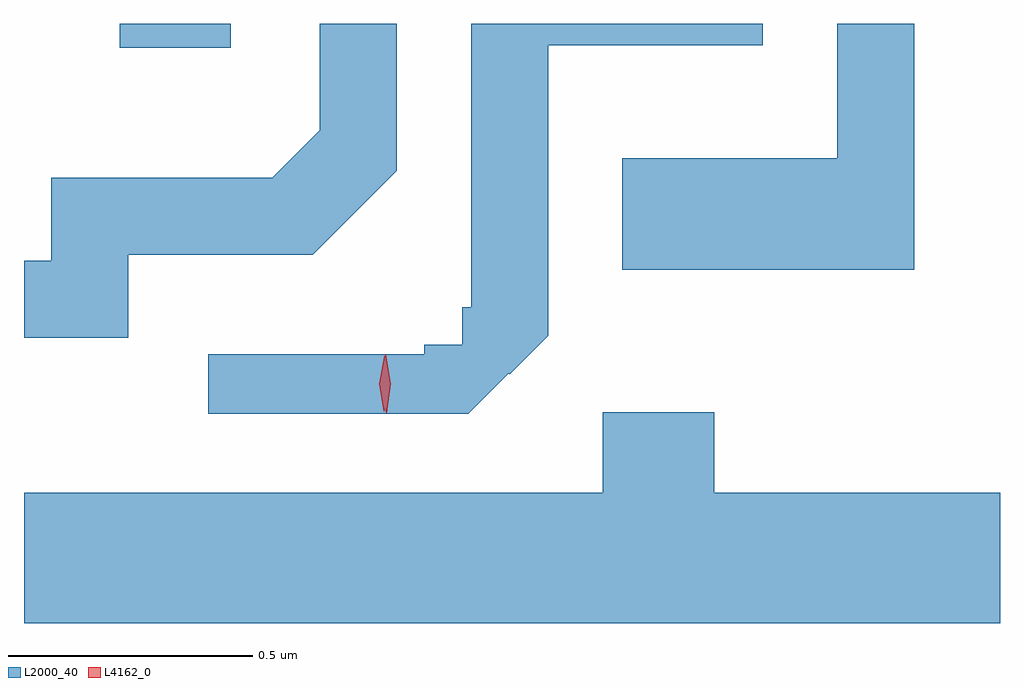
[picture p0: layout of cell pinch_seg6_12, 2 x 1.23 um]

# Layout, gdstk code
import gdstk
lib = gdstk.Library(unit=1e-6, precision=1e-09)
def R(c, l, rs):  # rectangles x0, y0, x1, y1
    for r in rs: c.add(gdstk.rectangle(r[:2], r[2:], *l))
def P(c, l, *ps):  # polygons
    for p in ps: c.add(gdstk.Polygon(p, *l))
L2000_40 = (2000, 40)
L4162_0 = (4162, 0)

pinch_seg6_12 = lib.new_cell('pinch_seg6_12')
R(pinch_seg6_12, L2000_40, [(837.851,1566.756,838.079,1566.805)])
P(pinch_seg6_12, L2000_40, [(837.869,1566.331),(838.247,1566.331),(838.419,1566.504),(838.419,1566.805),(838.261,1566.805),(838.261,1566.587),(838.164,1566.489),(837.711,1566.489),(837.711,1566.319),(837.655,1566.319),(837.655,1566.161),(837.869,1566.161)],
  [(839.479,1566.805),(839.321,1566.805),(839.321,1566.529),(838.881,1566.529),(838.881,1566.301),(839.479,1566.301)],
  [(838.647,1566.088),(838.65,1566.086),(838.729,1566.165),(838.729,1566.761),(839.169,1566.761),(839.169,1566.805),(838.571,1566.805),(838.571,1566.224),(838.553,1566.224),(838.553,1566.147),(838.475,1566.147),(838.475,1566.128),(838.033,1566.128),(838.033,1566.006),(838.565,1566.006)],
  [(839.655,1565.844),(839.069,1565.844),(839.069,1566.009),(838.841,1566.009),(838.841,1565.844),(837.655,1565.844),(837.655,1565.576),(839.655,1565.576)])
P(pinch_seg6_12, L4162_0, [(838.392,1566.011),(838.383,1566.067),(838.393,1566.122),(838.393,1566.123),(838.394,1566.122),(838.403,1566.067),(838.393,1566.011),(838.393,1566.011)],
  [(838.397,1566.007),(838.387,1566.067),(838.395,1566.127),(838.396,1566.127),(838.396,1566.127),(838.407,1566.067),(838.398,1566.007),(838.398,1566.007)])

lib.write_gds('pinch_seg6_12.gds')
